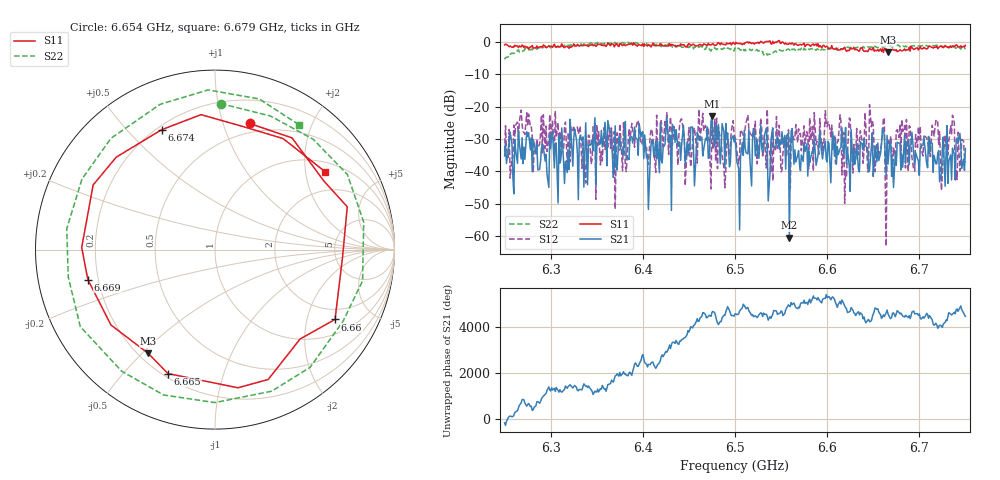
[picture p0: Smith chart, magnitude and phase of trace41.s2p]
# Hz S RI R 50
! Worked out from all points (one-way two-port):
!   401 points, 6.25 GHz to 6.75 GHz, reference 50 ohm
!   highest |S21| = -22.89 dB at 6.475 GHz (marker M1); lowest = -60.4 dB at 6.559 GHz (marker M2)
!   lowest |S11| = -3.3 dB at 6.666 GHz (marker M3), VSWR 5.40, Z = 11.9 - j26 ohm
!   |S11| at or under -10 dB: nowhere
!   |S22| runs from -5.4 to -0.2 dB; largest |S21 - S12| = 0.14
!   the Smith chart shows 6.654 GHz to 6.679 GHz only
!   S11 on the Smith chart (normalised r, x): 6.654 GHz: 0.41, +1.23; 6.66 GHz: 1.54, -2.98; 6.665 GHz: 0.22, -0.67; 6.669 GHz: 0.16, -0.11; 6.674 GHz: 0.22, +0.63; 6.679 GHz: 1.28, +2.56
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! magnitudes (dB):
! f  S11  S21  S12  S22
! 6.25 GHz  -1.0  -35.2  -33.9  -5.4
! 6.334 GHz  -1.2  -30.6  -39.0  -0.9
! 6.418 GHz  -1.2  -40.4  -32.2  -0.7
! 6.475 GHz  -0.8  -22.9  -22.6  -2.2
! 6.489 GHz  -0.9  -39.0  -45.0  -2.1
! 6.5 GHz  -0.8  -29.6  -29.5  -1.9
! 6.504 GHz  -0.5  -39.0  -37.6  -2.0
! 6.521 GHz  -0.7  -27.5  -29.3  -2.6
! 6.559 GHz  -0.5  -60.4  -32.2  -2.4
! 6.584 GHz  -0.8  -33.6  -26.1  -2.2
! 6.615 GHz  -2.2  -32.6  -24.6  -2.2
! 6.619 GHz  -1.7  -32.4  -49.8  -1.8
! 6.649 GHz  -2.4  -28.0  -24.3  -1.7
! 6.654 GHz  -2.7  -37.0  -31.2  -1.8
! 6.66 GHz  -2.2  -26.7  -28.5  -1.5
! 6.665 GHz  -2.6  -28.9  -33.8  -1.4
! 6.666 GHz  -3.3  -37.7  -30.1  -1.3
! 6.668 GHz  -2.9  -30.7  -31.8  -1.4
! 6.669 GHz  -2.8  -31.3  -29.1  -1.3
! 6.674 GHz  -2.7  -34.2  -35.2  -1.4
! 6.679 GHz  -2.5  -31.3  -25.4  -1.5
! 6.75 GHz  -1.1  -32.9  -37.3  -2.3
